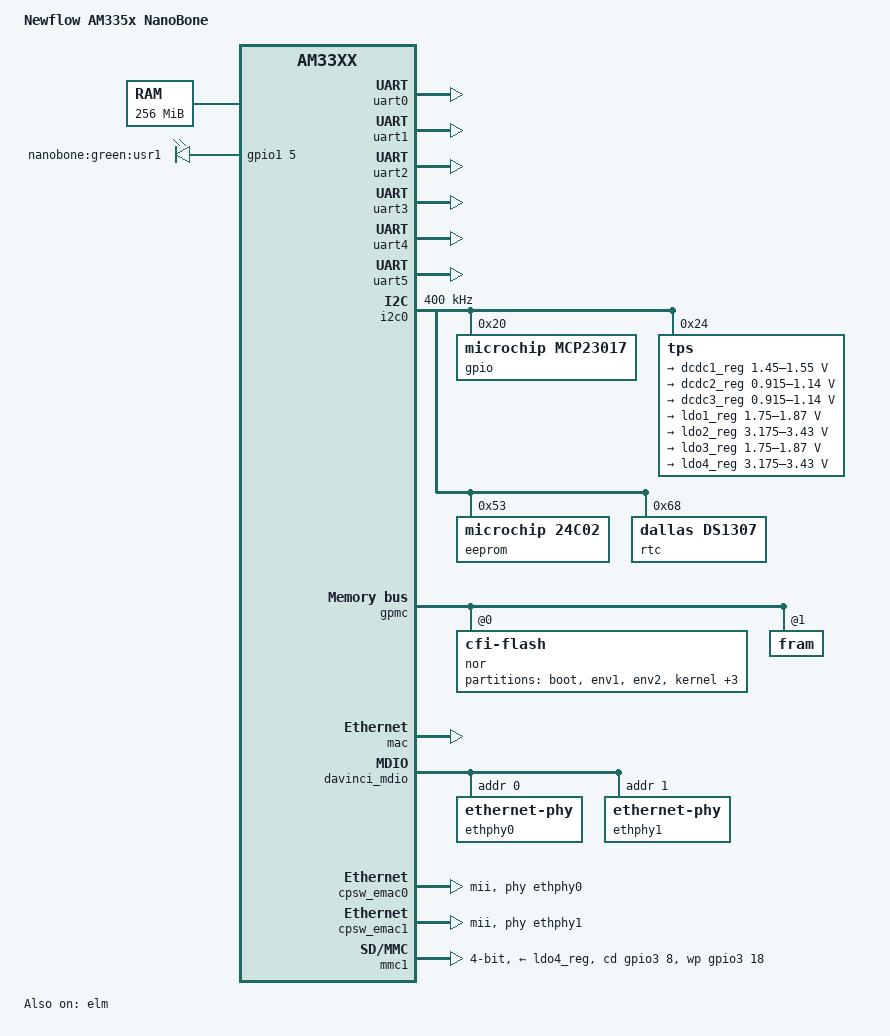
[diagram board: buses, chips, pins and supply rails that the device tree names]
/*
 * Copyright (C) 2013 Newflow Ltd - http://www.newflow.co.uk/
 *
 * This program is free software; you can redistribute it and/or modify
 * it under the terms of the GNU General Public License version 2 as
 * published by the Free Software Foundation.
 */
/dts-v1/;

#include "am33xx.dtsi"

/ {
	model = "Newflow AM335x NanoBone";
	compatible = "ti,am33xx";

	cpus {
		cpu@0 {
			cpu0-supply = <&dcdc2_reg>;
		};
	};

	memory@80000000 {
		device_type = "memory";
		reg = <0x80000000 0x10000000>; /* 256 MB */
	};

	leds {
		compatible = "gpio-leds";

		led0 {
			label = "nanobone:green:usr1";
			gpios = <&gpio1 5 0>;
			default-state = "off";
		};
	};
};

&am33xx_pinmux {
	pinctrl-names = "default";
	pinctrl-0 = <&misc_pins>;

	misc_pins: misc_pins {
		pinctrl-single,pins = <
			AM33XX_IOPAD(0x95c, PIN_OUTPUT | MUX_MODE7)	/* spi0_cs0.gpio0_5 */
		>;
	};

	gpmc_pins: gpmc_pins {
		pinctrl-single,pins = <
			AM33XX_IOPAD(0x800, PIN_INPUT_PULLUP | MUX_MODE0)	/* gpmc_ad0.gpmc_ad0 */
			AM33XX_IOPAD(0x804, PIN_INPUT_PULLUP | MUX_MODE0)	/* gpmc_ad1.gpmc_ad1 */
			AM33XX_IOPAD(0x808, PIN_INPUT_PULLUP | MUX_MODE0)	/* gpmc_ad2.gpmc_ad2 */
			AM33XX_IOPAD(0x80c, PIN_INPUT_PULLUP | MUX_MODE0)	/* gpmc_ad3.gpmc_ad3 */
			AM33XX_IOPAD(0x810, PIN_INPUT_PULLUP | MUX_MODE0)	/* gpmc_ad4.gpmc_ad4 */
			AM33XX_IOPAD(0x814, PIN_INPUT_PULLUP | MUX_MODE0)	/* gpmc_ad5.gpmc_ad5 */
			AM33XX_IOPAD(0x818, PIN_INPUT_PULLUP | MUX_MODE0)	/* gpmc_ad6.gpmc_ad6 */
			AM33XX_IOPAD(0x81c, PIN_INPUT_PULLUP | MUX_MODE0)	/* gpmc_ad7.gpmc_ad7 */
			AM33XX_IOPAD(0x820, PIN_INPUT_PULLUP | MUX_MODE0)	/* gpmc_ad8.gpmc_ad8 */
			AM33XX_IOPAD(0x824, PIN_INPUT_PULLUP | MUX_MODE0)	/* gpmc_ad9.gpmc_ad9 */
			AM33XX_IOPAD(0x828, PIN_INPUT_PULLUP | MUX_MODE0)	/* gpmc_ad10.gpmc_ad10 */
			AM33XX_IOPAD(0x82c, PIN_INPUT_PULLUP | MUX_MODE0)	/* gpmc_ad11.gpmc_ad11 */
			AM33XX_IOPAD(0x830, PIN_INPUT_PULLUP | MUX_MODE0)	/* gpmc_ad12.gpmc_ad12 */
			AM33XX_IOPAD(0x834, PIN_INPUT_PULLUP | MUX_MODE0)	/* gpmc_ad13.gpmc_ad13 */
			AM33XX_IOPAD(0x838, PIN_INPUT_PULLUP | MUX_MODE0)	/* gpmc_ad14.gpmc_ad14 */
			AM33XX_IOPAD(0x83c, PIN_INPUT_PULLUP | MUX_MODE0)	/* gpmc_ad15.gpmc_ad15 */

			AM33XX_IOPAD(0x870, PIN_INPUT_PULLUP | MUX_MODE0)	/* gpmc_wait0.gpmc_wait0 */
			AM33XX_IOPAD(0x87c, PIN_OUTPUT | MUX_MODE0)		/* gpmc_csn0.gpmc_csn0 */
			AM33XX_IOPAD(0x880, PIN_OUTPUT | MUX_MODE0)		/* gpmc_csn1.gpmc_csn1 */
			AM33XX_IOPAD(0x884, PIN_OUTPUT | MUX_MODE0)		/* gpmc_csn2.gpmc_csn2 */
			AM33XX_IOPAD(0x888, PIN_OUTPUT | MUX_MODE0)		/* gpmc_csn3.gpmc_csn3 */

			AM33XX_IOPAD(0x890, PIN_OUTPUT | MUX_MODE0)		/* gpmc_advn_ale.gpmc_advn_ale */
			AM33XX_IOPAD(0x894, PIN_OUTPUT | MUX_MODE0)		/* gpmc_oen_ren.gpmc_oen_ren */
			AM33XX_IOPAD(0x898, PIN_OUTPUT | MUX_MODE0)		/* gpmc_wen.gpmc_wen */
			AM33XX_IOPAD(0x89c, PIN_OUTPUT | MUX_MODE0)		/* gpmc_ben0_cle.gpmc_ben0_cle */

			AM33XX_IOPAD(0x8a4, PIN_OUTPUT | MUX_MODE1)		/* lcd_data1.gpmc_a1 */
			AM33XX_IOPAD(0x8a8, PIN_OUTPUT | MUX_MODE1)		/* lcd_data2.gpmc_a2 */
			AM33XX_IOPAD(0x8ac, PIN_OUTPUT | MUX_MODE1)		/* lcd_data3.gpmc_a3 */
			AM33XX_IOPAD(0x8b0, PIN_OUTPUT | MUX_MODE1)		/* lcd_data4.gpmc_a4 */
			AM33XX_IOPAD(0x8b4, PIN_OUTPUT | MUX_MODE1)		/* lcd_data5.gpmc_a5 */
			AM33XX_IOPAD(0x8b8, PIN_OUTPUT | MUX_MODE1)		/* lcd_data6.gpmc_a6 */
			AM33XX_IOPAD(0x8bc, PIN_OUTPUT | MUX_MODE1)		/* lcd_data7.gpmc_a7 */

			AM33XX_IOPAD(0x8e0, PIN_OUTPUT | MUX_MODE1)		/* lcd_vsync.gpmc_a8 */
			AM33XX_IOPAD(0x8e4, PIN_OUTPUT | MUX_MODE1)		/* lcd_hsync.gpmc_a9 */
			AM33XX_IOPAD(0x8e8, PIN_OUTPUT | MUX_MODE1)		/* lcd_pclk.gpmc_a10 */
		>;
	};

	i2c0_pins: i2c0_pins {
		pinctrl-single,pins = <
			AM33XX_IOPAD(0x988, PIN_INPUT_PULLDOWN | MUX_MODE0)	/* i2c0_sda.i2c0_sda */
			AM33XX_IOPAD(0x98c, PIN_INPUT_PULLDOWN | MUX_MODE0)	/* i2c0_scl.i2c0_scl */
		>;
	};

	uart0_pins: uart0_pins {
		pinctrl-single,pins = <
			AM33XX_IOPAD(0x970, PIN_INPUT_PULLUP | MUX_MODE0)	/* uart0_rxd.uart0_rxd */
			AM33XX_IOPAD(0x974, PIN_OUTPUT | MUX_MODE0)		/* uart0_txd.uart0_txd */
		>;
	};

	uart1_pins: uart1_pins {
		pinctrl-single,pins = <
			AM33XX_IOPAD(0x978, PIN_OUTPUT | MUX_MODE7)		/* uart1_ctsn.uart1_ctsn */
			AM33XX_IOPAD(0x97c, PIN_OUTPUT | MUX_MODE7)		/* uart1_rtsn.uart1_rtsn */
			AM33XX_IOPAD(0x980, PIN_INPUT_PULLUP | MUX_MODE0)	/* uart1_rxd.uart1_rxd */
			AM33XX_IOPAD(0x984, PIN_OUTPUT | MUX_MODE0)		/* uart1_txd.uart1_txd */
		>;
	};

	uart2_pins: uart2_pins {
		pinctrl-single,pins = <
			AM33XX_IOPAD(0x8c0, PIN_INPUT_PULLUP | MUX_MODE7)	/* lcd_data8.gpio2[14] */
			AM33XX_IOPAD(0x8c4, PIN_OUTPUT | MUX_MODE7)		/* lcd_data9.gpio2[15] */
			AM33XX_IOPAD(0x950, PIN_INPUT | MUX_MODE1)		/* spi0_sclk.uart2_rxd */
			AM33XX_IOPAD(0x954, PIN_OUTPUT | MUX_MODE1)		/* spi0_d0.uart2_txd */
		>;
	};

	uart3_pins: uart3_pins {
		pinctrl-single,pins = <
			AM33XX_IOPAD(0x8c8, PIN_INPUT_PULLUP | MUX_MODE6)	/* lcd_data10.uart3_ctsn */
			AM33XX_IOPAD(0x8cc, PIN_OUTPUT | MUX_MODE6)		/* lcd_data11.uart3_rtsn */
			AM33XX_IOPAD(0x960, PIN_INPUT | MUX_MODE1)		/* spi0_cs1.uart3_rxd */
			AM33XX_IOPAD(0x964, PIN_OUTPUT | MUX_MODE1)		/* ecap0_in_pwm0_out.uart3_txd */
		>;
	};

	uart4_pins: uart4_pins {
		pinctrl-single,pins = <
			AM33XX_IOPAD(0x8d0, PIN_INPUT_PULLUP | MUX_MODE6)	/* lcd_data12.uart4_ctsn */
			AM33XX_IOPAD(0x8d4, PIN_OUTPUT | MUX_MODE6)		/* lcd_data13.uart4_rtsn */
			AM33XX_IOPAD(0x968, PIN_INPUT | MUX_MODE1)		/* uart0_ctsn.uart4_rxd */
			AM33XX_IOPAD(0x96c, PIN_OUTPUT | MUX_MODE1)		/* uart0_rtsn.uart4_txd */
		>;
	};

	uart5_pins: uart5_pins {
		pinctrl-single,pins = <
			AM33XX_IOPAD(0x8d8, PIN_INPUT | MUX_MODE4)		/* lcd_data14.uart5_rxd */
			AM33XX_IOPAD(0x944, PIN_OUTPUT | MUX_MODE3)		/* rmiii1_refclk.uart5_txd */
		>;
	};

	mmc1_pins: mmc1_pins {
		pinctrl-single,pins = <
			AM33XX_IOPAD(0x8f0, PIN_INPUT_PULLUP | MUX_MODE0)	/* mmc0_dat0.mmc0_dat0 */
			AM33XX_IOPAD(0x8f4, PIN_INPUT_PULLUP | MUX_MODE0)	/* mmc0_dat1.mmc0_dat1 */
			AM33XX_IOPAD(0x8f8, PIN_INPUT_PULLUP | MUX_MODE0)	/* mmc0_dat2.mmc0_dat2 */
			AM33XX_IOPAD(0x8fc, PIN_INPUT_PULLUP | MUX_MODE0)	/* mmc0_dat3.mmc0_dat3 */
			AM33XX_IOPAD(0x900, PIN_INPUT_PULLUP | MUX_MODE0)	/* mmc0_clk.mmc0_clk */
			AM33XX_IOPAD(0x904, PIN_INPUT_PULLUP | MUX_MODE0)	/* mmc0_cmd.mmc0_cmd */
			AM33XX_IOPAD(0x9e8, PIN_INPUT_PULLUP | MUX_MODE7)	/* emu1.gpio3[8] */
			AM33XX_IOPAD(0x9a0, PIN_INPUT_PULLUP | MUX_MODE7)	/* mcasp0_aclkr.gpio3[18] */
		>;
	};
};

&uart0 {
	pinctrl-names = "default";
	pinctrl-0 = <&uart0_pins>;
	status = "okay";
};

&uart1 {
	pinctrl-names = "default";
	pinctrl-0 = <&uart1_pins>;
	status = "okay";
	rts-gpio = <&gpio0 13 GPIO_ACTIVE_HIGH>;
	rs485-rts-active-high;
	rs485-rx-during-tx;
	rs485-rts-delay = <1 1>;
	linux,rs485-enabled-at-boot-time;
};

&uart2 {
	pinctrl-names = "default";
	pinctrl-0 = <&uart2_pins>;
	status = "okay";
	rts-gpio = <&gpio2 15 GPIO_ACTIVE_HIGH>;
	rs485-rts-active-high;
	rs485-rts-delay = <1 1>;
	linux,rs485-enabled-at-boot-time;
};

&uart3 {
	pinctrl-names = "default";
	pinctrl-0 = <&uart3_pins>;
	status = "okay";
};

&uart4 {
	pinctrl-names = "default";
	pinctrl-0 = <&uart4_pins>;
	status = "okay";
};

&uart5 {
	pinctrl-names = "default";
	pinctrl-0 = <&uart5_pins>;
	status = "okay";
};

&i2c0 {
	status = "okay";
	pinctrl-names = "default";
	clock-frequency = <400000>;
	pinctrl-names = "default";
	pinctrl-0 = <&i2c0_pins>;

	gpio@20 {
		compatible = "microchip,mcp23017";
		gpio-controller;
		#gpio-cells = <2>;
		reg = <0x20>;
	};

	tps: tps@24 {
		reg = <0x24>;
	};

	eeprom@53 {
		compatible = "microchip,24c02", "atmel,24c02";
		reg = <0x53>;
		pagesize = <8>;
	};

	rtc@68 {
		compatible = "dallas,ds1307";
		reg = <0x68>;
	};
};

&elm {
	status = "okay";
};

&gpmc {
	compatible = "ti,am3352-gpmc";
	ti,hwmods = "gpmc";
	status = "okay";
	gpmc,num-waitpins = <2>;
	pinctrl-names = "default";
	pinctrl-0 = <&gpmc_pins>;

	#address-cells = <2>;
	#size-cells = <1>;
	ranges = <0 0 0x08000000 0x08000000>,	/* CS0: NOR 128M */
		 <1 0 0x1c000000 0x01000000>;	/* CS1: FRAM 16M */

	nor@0,0 {
		reg = <0 0x00000000 0x08000000>;
		compatible = "cfi-flash";
		linux,mtd-name = "spansion,s29gl010p11t";
		bank-width = <2>;

		gpmc,mux-add-data = <2>;

		gpmc,sync-clk-ps = <0>;
		gpmc,cs-on-ns = <0>;
		gpmc,cs-rd-off-ns = <160>;
		gpmc,cs-wr-off-ns = <160>;
		gpmc,adv-on-ns = <10>;
		gpmc,adv-rd-off-ns = <30>;
		gpmc,adv-wr-off-ns = <30>;
		gpmc,oe-on-ns = <40>;
		gpmc,oe-off-ns = <160>;
		gpmc,we-on-ns = <40>;
		gpmc,we-off-ns = <160>;
		gpmc,rd-cycle-ns = <160>;
		gpmc,wr-cycle-ns = <160>;
		gpmc,access-ns = <150>;
		gpmc,page-burst-access-ns = <10>;
		gpmc,cycle2cycle-samecsen;
		gpmc,cycle2cycle-delay-ns = <20>;
		gpmc,wr-data-mux-bus-ns = <70>;
		gpmc,wr-access-ns = <80>;

		#address-cells = <1>;
		#size-cells = <1>;

		/*
		MTD partition table
		===================
		+------------+-->0x00000000-> U-Boot start
		|            |
		|            |-->0x000BFFFF-> U-Boot end
		|            |-->0x000C0000-> ENV1 start
		|            |
		|            |-->0x000DFFFF-> ENV1 end
		|            |-->0x000E0000-> ENV2 start
		|            |
		|            |-->0x000FFFFF-> ENV2 end
		|            |-->0x00100000-> Kernel start
		|            |
		|            |-->0x004FFFFF-> Kernel end
		|            |-->0x00500000-> File system start
		|            |
		|            |-->0x01FFFFFF-> File system end
		|            |-->0x02000000-> User data start
		|            |
		|            |-->0x03FFFFFF-> User data end
		|            |-->0x04000000-> Data storage start
		|            |
		+------------+-->0x08000000-> NOR end (Free end)
		*/
		partition@0 {
			label = "boot";
			reg = <0x00000000 0x000c0000>; /* 768KB */
		};

		partition@1 {
			label = "env1";
			reg = <0x000c0000 0x00020000>; /* 128KB */
		};

		partition@2 {
			label = "env2";
			reg = <0x000e0000 0x00020000>; /* 128KB */
		};

		partition@3 {
			label = "kernel";
			reg = <0x00100000 0x00400000>; /* 4MB */
		};

		partition@4 {
			label = "rootfs";
			reg = <0x00500000 0x01b00000>; /* 27MB */
		};

		partition@5 {
			label = "user";
			reg = <0x02000000 0x02000000>; /* 32MB */
		};

		partition@6 {
			label = "data";
			reg = <0x04000000 0x04000000>; /* 64MB */
		};
	};

	fram@1,0 {
		reg = <1 0x00000000 0x01000000>;
		bank-width = <2>;

		gpmc,mux-add-data = <2>;

		gpmc,sync-clk-ps = <0>;
		gpmc,cs-on-ns = <0>;
		gpmc,cs-rd-off-ns = <160>;
		gpmc,cs-wr-off-ns = <160>;
		gpmc,adv-on-ns = <10>;
		gpmc,adv-rd-off-ns = <20>;
		gpmc,adv-wr-off-ns = <20>;
		gpmc,oe-on-ns = <30>;
		gpmc,oe-off-ns = <150>;
		gpmc,we-on-ns = <30>;
		gpmc,we-off-ns = <150>;
		gpmc,rd-cycle-ns = <160>;
		gpmc,wr-cycle-ns = <160>;
		gpmc,access-ns = <130>;
		gpmc,page-burst-access-ns = <10>;
		gpmc,cycle2cycle-samecsen;
		gpmc,cycle2cycle-diffcsen;
		gpmc,cycle2cycle-delay-ns = <10>;
		gpmc,wr-data-mux-bus-ns = <30>;
		gpmc,wr-access-ns = <0>;
	};
};

&mac {
	dual_emac;
	status = "okay";
};

&davinci_mdio {
	status = "okay";

	ethphy0: ethernet-phy@0 {
		reg = <0>;
	};

	ethphy1: ethernet-phy@1 {
		reg = <1>;
	};
};

&cpsw_emac0 {
	phy-handle = <&ethphy0>;
	phy-mode = "mii";
	dual_emac_res_vlan = <1>;
};

&cpsw_emac1 {
	phy-handle = <&ethphy1>;
	phy-mode = "mii";
	dual_emac_res_vlan = <2>;
};

&mmc1 {
	status = "okay";
	vmmc-supply = <&ldo4_reg>;
	pinctrl-names = "default";
	pinctrl-0 = <&mmc1_pins>;
	bus-width = <4>;
	cd-gpios = <&gpio3 8 0>;
	wp-gpios = <&gpio3 18 0>;
};

#include "tps65217.dtsi"

&tps {
	regulators {
		dcdc1_reg: regulator@0 {
			/* +1.5V voltage with ±4% tolerance */
			regulator-min-microvolt = <1450000>;
			regulator-max-microvolt = <1550000>;
			regulator-boot-on;
			regulator-always-on;
		};

		dcdc2_reg: regulator@1 {
			/* VDD_MPU voltage limits 0.95V - 1.1V with ±4% tolerance */
			regulator-name = "vdd_mpu";
			regulator-min-microvolt = <915000>;
			regulator-max-microvolt = <1140000>;
			regulator-boot-on;
			regulator-always-on;
		};

		dcdc3_reg: regulator@2 {
			/* VDD_CORE voltage limits 0.95V - 1.1V with ±4% tolerance */
			regulator-name = "vdd_core";
			regulator-min-microvolt = <915000>;
			regulator-max-microvolt = <1140000>;
			regulator-boot-on;
			regulator-always-on;
		};

		ldo1_reg: regulator@3 {
			/* +1.8V voltage with ±4% tolerance */
			regulator-min-microvolt = <1750000>;
			regulator-max-microvolt = <1870000>;
			regulator-boot-on;
			regulator-always-on;
		};

		ldo2_reg: regulator@4 {
			/* +3.3V voltage with ±4% tolerance */
			regulator-min-microvolt = <3175000>;
			regulator-max-microvolt = <3430000>;
			regulator-boot-on;
			regulator-always-on;
		};

		ldo3_reg: regulator@5 {
			/* +1.8V voltage with ±4% tolerance */
			regulator-min-microvolt = <1750000>;
			regulator-max-microvolt = <1870000>;
			regulator-boot-on;
			regulator-always-on;
		};

		ldo4_reg: regulator@6 {
			/* +3.3V voltage with ±4% tolerance */
			regulator-min-microvolt = <3175000>;
			regulator-max-microvolt = <3430000>;
			regulator-boot-on;
			regulator-always-on;
		};
	};
};
